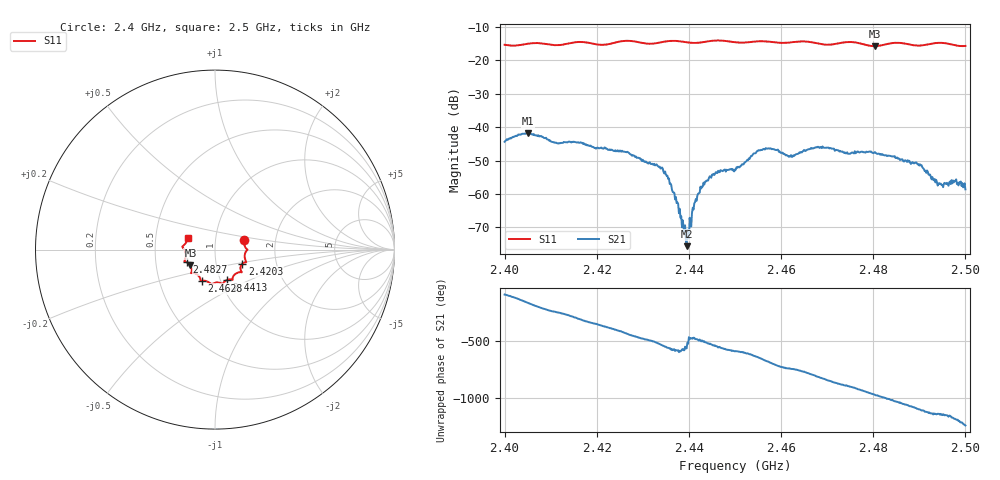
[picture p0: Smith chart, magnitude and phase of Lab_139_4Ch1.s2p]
# Hz S RI R 50
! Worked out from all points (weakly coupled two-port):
!   601 points, 2.4 GHz to 2.5 GHz, reference 50 ohm
!   highest |S21| = -41.81 dB at 2.405 GHz (marker M1); lowest = -75.6 dB at 2.4395 GHz (marker M2)
!   lowest |S11| = -15.8 dB at 2.4803 GHz (marker M3), VSWR 1.39, Z = 37.4 - j6.76 ohm
!   |S11| at or under -10 dB: start of sweep to end of sweep
!   S12 and S22 are empty: the file has one direction only
!   S11 on the Smith chart (normalised r, x): 2.4 GHz: 1.38, +0.15; 2.4203 GHz: 1.34, -0.22; 2.4413 GHz: 1.08, -0.38; 2.4628 GHz: 0.82, -0.29; 2.4827 GHz: 0.72, -0.10; 2.5 GHz: 0.73, +0.10
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2.4e9  0.162 0.0531  0.000358 -0.00602  0 0  0 0
2.405e9  0.1765 0.00335  -0.00759 -0.00288  0 0  0 0
2.416667e9  0.1744 -0.0696  0.00374 0.00449  0 0  0 0
2.420333e9  0.1519 -0.0793  0.00485 0.000548  0 0  0 0
2.433333e9  0.0999 -0.1523  -0.00243 -0.000916  0 0  0 0
2.435667e9  0.098 -0.1673  -0.0016 0.000596  0 0  0 0
2.4395e9  0.0851 -0.1652  -0.000152 6.64e-05  0 0  0 0
2.44e9  0.0805 -0.1652  -5.41e-05 -0.000209  0 0  0 0
2.441333e9  0.0671 -0.1689  -0.000386 -0.000647  0 0  0 0
2.443e9  0.0523 -0.1789  -0.000994 -0.000827  0 0  0 0
2.444833e9  0.0442 -0.1898  -0.00171 -0.000335  0 0  0 0
2.45e9  0.0247 -0.1844  -0.00149 0.00178  0 0  0 0
2.4565e9  -0.0218 -0.1909  0.00302 0.00351  0 0  0 0
2.462833e9  -0.072 -0.1733  0.00324 -0.00182  0 0  0 0
2.466667e9  -0.0805 -0.1677  0.00117 -0.00462  0 0  0 0
2.480333e9  -0.1367 -0.0878  -0.00111 0.00408  0 0  0 0
2.482667e9  -0.1578 -0.0706  0.000881 0.0037  0 0  0 0
2.483333e9  -0.1631 -0.0685  0.00145 0.00345  0 0  0 0
2.49e9  -0.1644 -0.0215  0.00242 -0.00111  0 0  0 0
2.494333e9  -0.1817 0.0158  0.000607 -0.00132  0 0  0 0
2.4975e9  -0.1663 0.0319  -0.000435 -0.00143  0 0  0 0
2.5e9  -0.1506 0.0645  -0.00114 -0.00026  0 0  0 0
